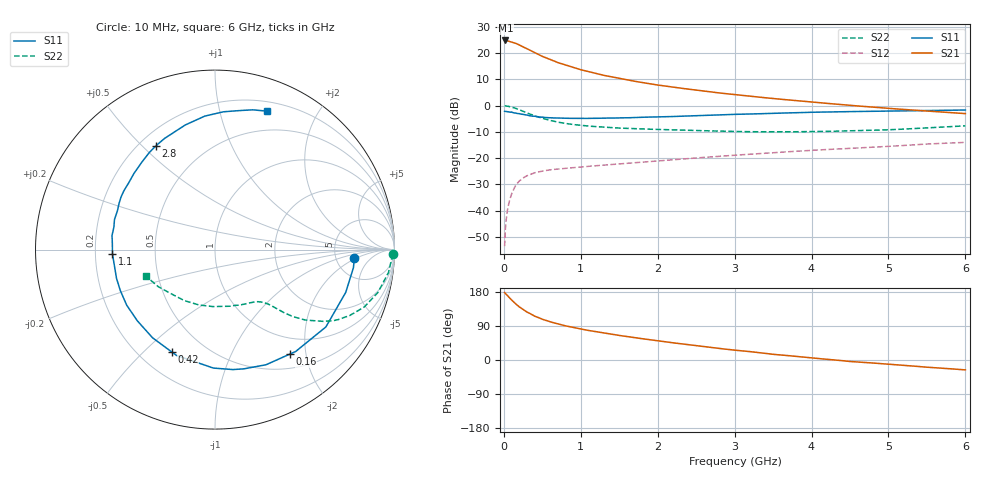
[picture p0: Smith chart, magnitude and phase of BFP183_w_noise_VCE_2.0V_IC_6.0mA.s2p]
! Infineon Technologies  Discrete & RF Semiconductors
! BFP183
! VCE = 2.0 V,  IC =  6.0 mA
! Common Emitter S-Parameters:  Jan 2016
# GHz  S  MA  R  50
!  f  S11  S21  S12  S22
! GHz  MAG  ANG  MAG  ANG  MAG  ANG  MAG  ANG
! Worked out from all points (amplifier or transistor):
!   210 points, 10 MHz to 6 GHz, reference 50 ohm
!   highest |S21| = 24.8 dB at 20 MHz (marker M1)
!   |S21| within 3 dB of that: start of sweep to 290.9 MHz
!   unconditionally stable (mu >= 1): 1.414 GHz to 5.722 GHz
!   at 185 MHz: K = 0.19, MSG = 26.3 dB, |S12| = -29.3 dB
!   at 1.52 GHz: K = 1.04, MAG = 15.0 dB, |S12| = -22.2 dB
!   at 6 GHz: K = 0.96, MSG = 5.5 dB, |S12| = -14.0 dB
!   lowest NFmin = 1.20 dB at 450 MHz
!   S11 on the Smith chart (normalised r, x): 10 MHz: 7.62, -1.73; 160 MHz: 0.72, -1.71; 420 MHz: 0.33, -0.61; 1.1 GHz: 0.27, -0.02; 2.8 GHz: 0.27, +0.55; 6 GHz: 0.29, +1.40
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0.01  0.7784 -3.3  17.2 177.9  0.0021 83.0  0.9916 -1.5
0.02  0.7777 -7.5  17.4 176.0  0.0044 84.4  0.9852 -3.1
0.05  0.7664 -18.1  17.13 169.0  0.0109 82.8  0.9751 -7.5
0.1  0.7532 -34.9  16.26 158.6  0.0206 71.3  0.9389 -14.7
0.16  0.716 -54.4  15.2 147.1  0.0309 63.2  0.8795 -22.0
0.2  0.7018 -66.1  14.31 140.3  0.0365 59.0  0.8354 -26.1
0.26  0.6758 -81.5  12.91 131.6  0.0426 52.8  0.769 -31.0
0.3  0.6601 -90.8  12.15 126.6  0.0461 49.3  0.7245 -33.5
0.4  0.6274 -110.0  10.23 115.7  0.0524 43.5  0.6367 -38.0
0.42  0.6189 -112.9  9.902 114.3  0.0532 42.5  0.6237 -38.5
0.5  0.6021 -125.3  8.665 107.5  0.0567 39.0  0.5723 -40.7
0.68  0.5809 -145.7  6.801 96.4  0.0614 35.3  0.4916 -43.3
0.8  0.5748 -156.6  5.937 90.2  0.0638 33.7  0.4568 -44.3
1.02  0.5677 -172.3  4.742 81.1  0.068 32.7  0.4181 -46.1
1.1  0.5718 -177.5  4.43 77.9  0.0698 33.0  0.4069 -46.8
1.5  0.5847 163.3  3.291 64.7  0.0772 33.5  0.373 -51.0
2.02  0.6071 142.8  2.44 50.2  0.0889 34.1  0.3508 -58.6
2.8  0.6657 119.6  1.742 30.4  0.1079 33.6  0.3276 -74.4
3.1  0.6849 112.1  1.565 24.1  0.1159 33.0  0.3194 -81.7
4.1  0.7494 92.8  1.137 3.7  0.143 28.7  0.3214 -109.1
5.1  0.7892 79.2  0.864 -12.6  0.1703 23.9  0.3509 -136.9
6  0.8236 69.5  0.703 -26.1  0.1992 16.7  0.4111 -158.7
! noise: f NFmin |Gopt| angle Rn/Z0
0.45  1.2  0.21  41  0.24
0.9  1.25  0.24  101  0.21
1.8  2  0.32  175  0.14
